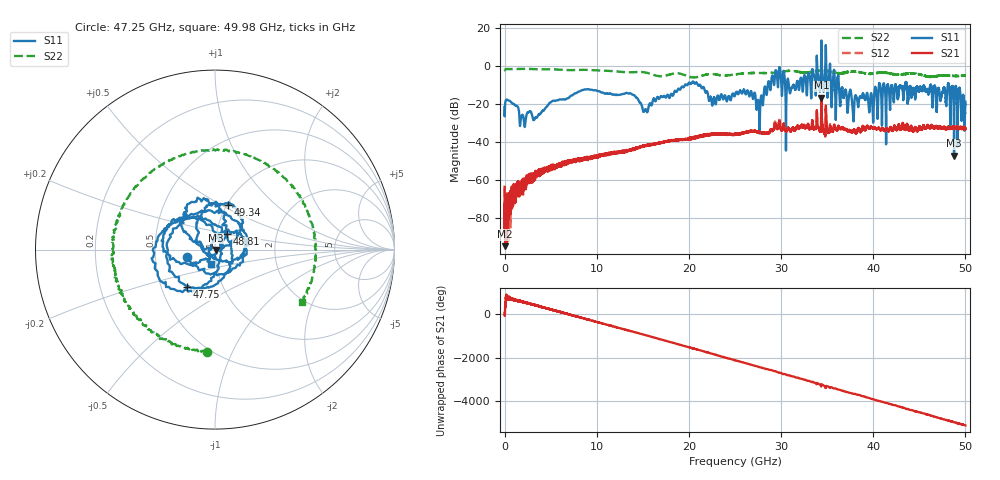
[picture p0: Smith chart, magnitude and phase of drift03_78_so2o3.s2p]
!Created with skrf (http://scikit-rf.org).
# Hz S RI R 50.0
!freq ReS11 ImS11 ReS21 ImS21 ReS12 ImS12 ReS22 ImS22
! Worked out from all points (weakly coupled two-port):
!   10001 points, 300 kHz to 50 GHz, reference 50 ohm
!   highest |S21| = -16.50 dB at 34.37 GHz (marker M1); lowest = -94.7 dB at 60.3 MHz (marker M2)
!   lowest |S11| = -47.0 dB at 48.77 GHz (marker M3), VSWR 1.01, Z = 50.4 - j0.16 ohm
!   |S11| at or under -10 dB: start of sweep to 19.55 GHz; 21.25 GHz to 28.55 GHz (7.299 GHz wide, 29.3 % of centre); 36.28 GHz to 40.62 GHz (4.332 GHz wide, 11.3 % of centre) (the widest 3 of 36)
!   |S22| runs from -5.9 to -1.3 dB; largest |S21 - S12| = 0.03
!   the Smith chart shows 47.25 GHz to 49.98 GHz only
!   S11 on the Smith chart (normalised r, x): 47.25 GHz: 0.73, -0.06; 47.75 GHz: 0.68, -0.30; 48.81 GHz: 1.13, +0.20; 49.34 GHz: 1.01, +0.54; 49.98 GHz: 0.95, -0.16
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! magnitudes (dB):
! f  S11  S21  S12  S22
! 300 kHz  -21.4  -63.4  -64.3  -2.0
! 60.3 MHz  -19.7  -94.7  -73.9  -1.6
! 3.3 GHz  -27.3  -58.7  -57.6  -1.5
! 8.335 GHz  -12.7  -49.6  -48.9  -1.9
! 15.29 GHz  -22.8  -42.0  -41.8  -3.3
! 16.67 GHz  -16.5  -40.4  -40.5  -5.2
! 20.27 GHz  -9.1  -38.0  -37.8  -5.8
! 25 GHz  -15.2  -35.5  -35.9  -4.3
! 27.52 GHz  -17.8  -34.5  -34.6  -3.5
! 29.28 GHz  -8.2  -31.3  -30.5  -3.3
! 30.73 GHz  -6.5  -32.6  -32.5  -2.4
! 33.34 GHz  -7.5  -31.1  -31.1  -2.9
! 34.37 GHz  13.6  -16.5  -18.0  -2.3
! 37.87 GHz  -29.0  -33.6  -34.2  -2.8
! 41.67 GHz  -11.4  -34.2  -34.1  -3.6
! 47.25 GHz  -15.9  -31.6  -31.8  -4.9
! 47.75 GHz  -11.7  -32.6  -32.8  -4.8
! 48.77 GHz  -47.0  -32.0  -32.2  -5.1
! 48.81 GHz  -19.2  -31.7  -32.4  -5.1
! 49.34 GHz  -11.7  -32.6  -32.5  -5.1
! 49.98 GHz  -21.4  -32.5  -32.8  -5.0
! 50 GHz  -18.7  -33.1  -32.6  -5.0
